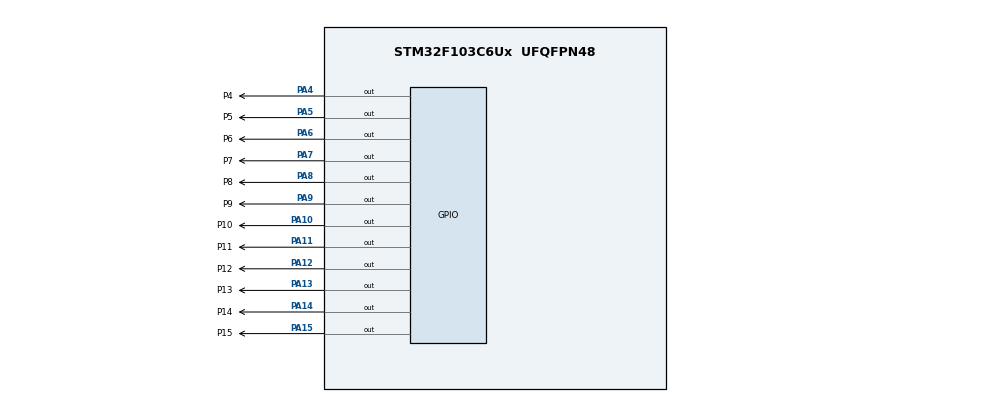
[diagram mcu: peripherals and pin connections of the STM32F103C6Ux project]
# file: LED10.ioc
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Mcu.Family=STM32F1
Mcu.Name=STM32F103C6Ux
Mcu.Package=UFQFPN48
NVIC.PriorityGroup=NVIC_PRIORITYGROUP_4
PA10.GPIO_Label=P10
PA10.Signal=GPIO_Output
PA11.GPIO_Label=P11
PA11.Signal=GPIO_Output
PA12.GPIO_Label=P12
PA12.Signal=GPIO_Output
PA13.GPIO_Label=P13
PA13.Signal=GPIO_Output
PA14.GPIO_Label=P14
PA14.Signal=GPIO_Output
PA15.GPIO_Label=P15
PA15.Signal=GPIO_Output
PA4.GPIO_Label=P4
PA4.Signal=GPIO_Output
PA5.GPIO_Label=P5
PA5.Signal=GPIO_Output
PA6.GPIO_Label=P6
PA6.Signal=GPIO_Output
PA7.GPIO_Label=P7
PA7.Signal=GPIO_Output
PA8.GPIO_Label=P8
PA8.Signal=GPIO_Output
PA9.GPIO_Label=P9
PA9.Signal=GPIO_Output
ProjectManager.HeapSize=0x200
ProjectManager.StackSize=0x400
ProjectManager.TargetToolchain=STM32CubeIDE
RCC.APB1Freq_Value=8000000
RCC.APB2Freq_Value=8000000
VP_SYS_VS_ND.Mode=No_Debug
board=custom

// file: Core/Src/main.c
/* USER CODE BEGIN Header */
/**
  ******************************************************************************
  * @file           : main.c
  * @brief          : Main program body
  ******************************************************************************
  * @attention
  *
  * <h2><center>&copy; Copyright (c) 2022 STMicroelectronics.
  * All rights reserved.</center></h2>
  *
  * This software component is licensed by ST under BSD 3-Clause license,
  * the "License"; You may not use this file except in compliance with the
  * License. You may obtain a copy of the License at:
  *                        opensource.org/licenses/BSD-3-Clause
  *
  ******************************************************************************
  */
/* USER CODE END Header */
#include "main.h"

void SystemClock_Config(void);
static void MX_GPIO_Init(void);

int main(void)
{

  /* MCU Configuration--------------------------------------------------------*/

  /* Reset of all peripherals, Initializes the Flash interface and the Systick. */
  HAL_Init();

  /* Configure the system clock */
  SystemClock_Config();

  /* Initialize all configured peripherals */
  MX_GPIO_Init();
  /* USER CODE BEGIN 2 */
  void clearAllClock ()
    {
  	  HAL_GPIO_WritePin(P4_GPIO_Port, P4_Pin, 1);
  	  HAL_GPIO_WritePin(P5_GPIO_Port, P5_Pin, 1);
  	  HAL_GPIO_WritePin(P6_GPIO_Port, P6_Pin, 1);
  	  HAL_GPIO_WritePin(P7_GPIO_Port, P7_Pin, 1);
  	  HAL_GPIO_WritePin(P8_GPIO_Port, P8_Pin, 1);
  	  HAL_GPIO_WritePin(P9_GPIO_Port, P9_Pin, 1);
  	  HAL_GPIO_WritePin(P10_GPIO_Port, P10_Pin, 1);
  	  HAL_GPIO_WritePin(P11_GPIO_Port, P11_Pin, 1);
  	  HAL_GPIO_WritePin(P12_GPIO_Port, P12_Pin, 1);
  	  HAL_GPIO_WritePin(P13_GPIO_Port, P13_Pin, 1);
  	  HAL_GPIO_WritePin(P14_GPIO_Port, P14_Pin, 1);
  	  HAL_GPIO_WritePin(P15_GPIO_Port, P15_Pin, 1);
    }
  void Clock(int count_hour,int count_minute,int count_second)
    {
  	  switch(count_second)
  	  	  {
  	  		  case 1:{HAL_GPIO_WritePin(P4_GPIO_Port, P4_Pin, 0);break;}
  	  		  case 2:{HAL_GPIO_WritePin(P5_GPIO_Port, P5_Pin, 0);break;}
  	  		  case 3:{HAL_GPIO_WritePin(P6_GPIO_Port, P6_Pin, 0);break;}
  	  		  case 4:{HAL_GPIO_WritePin(P7_GPIO_Port, P7_Pin, 0);break;}
  	  		  case 5:{HAL_GPIO_WritePin(P8_GPIO_Port, P8_Pin, 0);break;}
  	  		  case 6:{HAL_GPIO_WritePin(P9_GPIO_Port, P9_Pin, 0);break;}
  	  		  case 7:{HAL_GPIO_WritePin(P10_GPIO_Port, P10_Pin, 0);break;}
  	  		  case 8:{HAL_GPIO_WritePin(P11_GPIO_Port,P11_Pin, 0);break;}
  	  		  case 9:{HAL_GPIO_WritePin(P12_GPIO_Port, P12_Pin, 0);break;}
  	  		  case 10:{HAL_GPIO_WritePin(P13_GPIO_Port, P13_Pin, 0);break; }
  	  		  case 11:{HAL_GPIO_WritePin(P14_GPIO_Port, P14_Pin, 0);break;}
  	  		case 12:{HAL_GPIO_WritePin(P15_GPIO_Port, P15_Pin, 0);break;
  	  		default: break;}
  	  	  }
  	  	  	if(count_minute>=5&&count_minute<10){HAL_GPIO_WritePin(P4_GPIO_Port, P4_Pin, 0);}
  	  	  	if(count_minute>=10&&count_minute<15){HAL_GPIO_WritePin(P5_GPIO_Port, P5_Pin, 0);}
  	  	  	if(count_minute>=15&&count_minute<20){HAL_GPIO_WritePin(P6_GPIO_Port, P6_Pin, 0);}
  	  	  	if(count_minute>=20&&count_minute<25){HAL_GPIO_WritePin(P7_GPIO_Port, P7_Pin, 0);}
  	  	  	if(count_minute>=25&&count_minute<30){HAL_GPIO_WritePin(P8_GPIO_Port, P8_Pin, 0);}
  	  	  	if(count_minute>=30&&count_minute<35){HAL_GPIO_WritePin(P9_GPIO_Port, P9_Pin, 0);}
  	  	  	if(count_minute>=35&&count_minute<40){HAL_GPIO_WritePin(P10_GPIO_Port, P10_Pin, 0);}
  	  	  	if(count_minute>=40&&count_minute<45){HAL_GPIO_WritePin(P11_GPIO_Port,P11_Pin, 0); }
  	  	  	if(count_minute>=45&&count_minute<50){HAL_GPIO_WritePin(P12_GPIO_Port, P12_Pin, 0); }
  	  	  	if(count_minute>=50&&count_minute<55){HAL_GPIO_WritePin(P13_GPIO_Port, P13_Pin, 0);}
  	  	  	if(count_minute>=55&&count_minute<60){HAL_GPIO_WritePin(P14_GPIO_Port, P14_Pin, 0);}
  	  	  	if(count_minute==60||count_minute<5){HAL_GPIO_WritePin(P15_GPIO_Port, P15_Pin, 0);}
  	  	  switch(count_hour)
  	  	  {
  	  		  case 1:{HAL_GPIO_WritePin(P4_GPIO_Port, P4_Pin, 0);break;}
  	  		  case 2:{HAL_GPIO_WritePin(P5_GPIO_Port, P5_Pin, 0);break; }
  	  		  case 3:{HAL_GPIO_WritePin(P6_GPIO_Port, P6_Pin, 0);break;}
  	  		  case 4:{HAL_GPIO_WritePin(P7_GPIO_Port, P7_Pin, 0);break;}
  	  		  case 5:{HAL_GPIO_WritePin(P8_GPIO_Port, P8_Pin, 0);break;}
  	  		  case 6:{HAL_GPIO_WritePin(P9_GPIO_Port, P9_Pin, 0);break;}
  	  		  case 7:{HAL_GPIO_WritePin(P10_GPIO_Port, P10_Pin, 0);break;}
  	  		  case 8:{HAL_GPIO_WritePin(P11_GPIO_Port,P11_Pin, 0);break;}
  	  		  case 9:{HAL_GPIO_WritePin(P12_GPIO_Port, P12_Pin, 0);break; }
  	  		  case 10:{HAL_GPIO_WritePin(P13_GPIO_Port, P13_Pin, 0);break;}
  	  		  case 11:{HAL_GPIO_WritePin(P14_GPIO_Port, P14_Pin, 0);break; }
  	  		  case 12:{HAL_GPIO_WritePin(P15_GPIO_Port, P15_Pin, 0);break;}
  	  		  default: break;
  	  	  }
    }
  int count_second=12;
  int count_minute=60;
  int count_hour=12;
  /* USER CODE END 2 */

  /* Infinite loop */
  /* USER CODE BEGIN WHILE */
  while (1)
  {
	  clearAllClock ();
	  Clock(count_hour, count_minute, count_second);
	  if(count_second==11){count_minute++;}
	  if(count_second==11 && count_minute==60){count_hour++;}
	  count_second++;
	  if(count_second>12){count_second=1;}
	  if(count_minute>60){count_minute=1;}
	  if(count_hour>12){count_hour=1;}
	  HAL_Delay(5000);
    /* USER CODE END WHILE */

  }
}

void SystemClock_Config(void)
{
  RCC_OscInitTypeDef RCC_OscInitStruct = {0};
  RCC_ClkInitTypeDef RCC_ClkInitStruct = {0};

  /** Initializes the RCC Oscillators according to the specified parameters
  * in the RCC_OscInitTypeDef structure.
  */
  RCC_OscInitStruct.OscillatorType = RCC_OSCILLATORTYPE_HSI;
  RCC_OscInitStruct.HSIState = RCC_HSI_ON;
  RCC_OscInitStruct.HSICalibrationValue = RCC_HSICALIBRATION_DEFAULT;
  RCC_OscInitStruct.PLL.PLLState = RCC_PLL_NONE;
  if (HAL_RCC_OscConfig(&RCC_OscInitStruct) != HAL_OK)
  {
    Error_Handler();
  }
  /** Initializes the CPU, AHB and APB buses clocks
  */
  RCC_ClkInitStruct.ClockType = RCC_CLOCKTYPE_HCLK|RCC_CLOCKTYPE_SYSCLK
                              |RCC_CLOCKTYPE_PCLK1|RCC_CLOCKTYPE_PCLK2;
  RCC_ClkInitStruct.SYSCLKSource = RCC_SYSCLKSOURCE_HSI;
  RCC_ClkInitStruct.AHBCLKDivider = RCC_SYSCLK_DIV1;
  RCC_ClkInitStruct.APB1CLKDivider = RCC_HCLK_DIV1;
  RCC_ClkInitStruct.APB2CLKDivider = RCC_HCLK_DIV1;

  if (HAL_RCC_ClockConfig(&RCC_ClkInitStruct, FLASH_LATENCY_0) != HAL_OK)
  {
    Error_Handler();
  }
}

static void MX_GPIO_Init(void)
{
  GPIO_InitTypeDef GPIO_InitStruct = {0};

  /* GPIO Ports Clock Enable */
  __HAL_RCC_GPIOA_CLK_ENABLE();

  /*Configure GPIO pin Output Level */
  HAL_GPIO_WritePin(GPIOA, P4_Pin|P5_Pin|P6_Pin|P7_Pin
                          |P8_Pin|P9_Pin|P10_Pin|P11_Pin
                          |P12_Pin|P13_Pin|P14_Pin|P15_Pin, GPIO_PIN_RESET);

  /*Configure GPIO pins : P4_Pin P5_Pin P6_Pin P7_Pin
                           P8_Pin P9_Pin P10_Pin P11_Pin
                           P12_Pin P13_Pin P14_Pin P15_Pin */
  GPIO_InitStruct.Pin = P4_Pin|P5_Pin|P6_Pin|P7_Pin
                          |P8_Pin|P9_Pin|P10_Pin|P11_Pin
                          |P12_Pin|P13_Pin|P14_Pin|P15_Pin;
  GPIO_InitStruct.Mode = GPIO_MODE_OUTPUT_PP;
  GPIO_InitStruct.Pull = GPIO_NOPULL;
  GPIO_InitStruct.Speed = GPIO_SPEED_FREQ_LOW;
  HAL_GPIO_Init(GPIOA, &GPIO_InitStruct);

}

void Error_Handler(void)
{
  __disable_irq();
  while (1)
  {
  }
}

/************************ (C) COPYRIGHT STMicroelectronics *****END OF FILE****/
